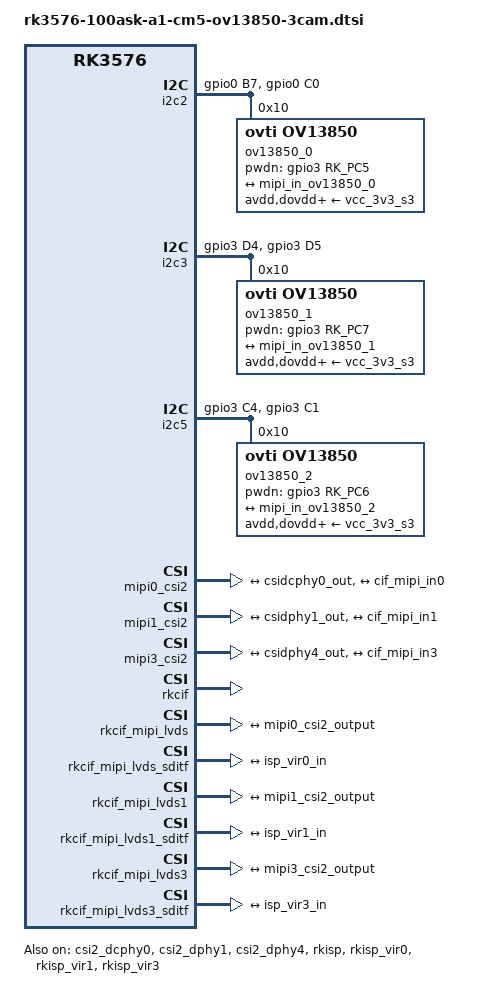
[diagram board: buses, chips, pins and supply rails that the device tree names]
// SPDX-License-Identifier: (GPL-2.0+ OR MIT)
/* Three 2-lane OV13850 modules on A1-CM5 FPC4, FPC6 and FPC7. */

&csi2_dcphy0 {
	status = "okay";
	ports {
		#address-cells = <1>;
		#size-cells = <0>;
		port@0 {
			reg = <0>;
			#address-cells = <1>;
			#size-cells = <0>;
			mipi_in_ov13850_0: endpoint@1 {
				reg = <1>;
				remote-endpoint = <&ov13850_0_out>;
				data-lanes = <1 2>;
			};
		};
		port@1 {
			reg = <1>;
			#address-cells = <1>;
			#size-cells = <0>;
			csidcphy0_out: endpoint@0 {
				reg = <0>;
				remote-endpoint = <&mipi0_csi2_input>;
			};
		};
	};
};

&csi2_dphy1 {
	status = "okay";
	ports {
		#address-cells = <1>;
		#size-cells = <0>;
		port@0 {
			reg = <0>;
			#address-cells = <1>;
			#size-cells = <0>;
			mipi_in_ov13850_1: endpoint@1 {
				reg = <1>;
				remote-endpoint = <&ov13850_1_out>;
				data-lanes = <1 2>;
			};
		};
		port@1 {
			reg = <1>;
			#address-cells = <1>;
			#size-cells = <0>;
			csidphy1_out: endpoint@0 {
				reg = <0>;
				remote-endpoint = <&mipi1_csi2_input>;
			};
		};
	};
};

&csi2_dphy4 {
	status = "okay";
	ports {
		#address-cells = <1>;
		#size-cells = <0>;
		port@0 {
			reg = <0>;
			#address-cells = <1>;
			#size-cells = <0>;
			mipi_in_ov13850_2: endpoint@1 {
				reg = <1>;
				remote-endpoint = <&ov13850_2_out>;
				data-lanes = <1 2>;
			};
		};
		port@1 {
			reg = <1>;
			#address-cells = <1>;
			#size-cells = <0>;
			csidphy4_out: endpoint@0 {
				reg = <0>;
				remote-endpoint = <&mipi3_csi2_input>;
			};
		};
	};
};

&i2c2 {
	status = "okay";
	pinctrl-names = "default";
	/* FPC4 and FPC6 share CAM_CLK0 on this carrier. */
	pinctrl-0 = <&cam_i2c2m0_xfer &cam_clk0m0_clk0>;

	ov13850_0: camera@10 {
		compatible = "ovti,ov13850";
		reg = <0x10>;
		clocks = <&cru CLK_MIPI_CAMERAOUT_M0>;
		clock-names = "xvclk";
		power-domains = <&power RK3576_PD_VI>;
		avdd-supply = <&vcc_3v3_s3>;
		dovdd-supply = <&vcc_3v3_s3>;
		dvdd-supply = <&vcc_3v3_s3>;
		pwdn-gpios = <&gpio3 RK_PC5 GPIO_ACTIVE_HIGH>;
		rockchip,camera-module-index = <0>;
		rockchip,camera-module-facing = "back";
		rockchip,camera-module-name = "ZC-OV13850R2A-V1";
		rockchip,camera-module-lens-name = "Largan-50064B31";
		port {
			ov13850_0_out: endpoint {
				remote-endpoint = <&mipi_in_ov13850_0>;
				data-lanes = <1 2>;
			};
		};
	};
};

&i2c3 {
	status = "okay";
	pinctrl-names = "default";
	pinctrl-0 = <&cam_i2c3m2_xfer>;
	ov13850_1: camera@10 {
		compatible = "ovti,ov13850";
		reg = <0x10>;
		clocks = <&cru CLK_MIPI_CAMERAOUT_M0>;
		clock-names = "xvclk";
		power-domains = <&power RK3576_PD_VI>;
		avdd-supply = <&vcc_3v3_s3>;
		dovdd-supply = <&vcc_3v3_s3>;
		dvdd-supply = <&vcc_3v3_s3>;
		pwdn-gpios = <&gpio3 RK_PC7 GPIO_ACTIVE_HIGH>;
		rockchip,camera-module-index = <1>;
		rockchip,camera-module-facing = "back";
		rockchip,camera-module-name = "ZC-OV13850R2A-V1";
		rockchip,camera-module-lens-name = "Largan-50064B31";
		port {
			ov13850_1_out: endpoint {
				remote-endpoint = <&mipi_in_ov13850_1>;
				data-lanes = <1 2>;
			};
		};
	};
};

&i2c5 {
	status = "okay";
	pinctrl-names = "default";
	pinctrl-0 = <&cam_i2c5m3_xfer &cam_clk2m0_clk2>;
	ov13850_2: camera@10 {
		compatible = "ovti,ov13850";
		reg = <0x10>;
		clocks = <&cru CLK_MIPI_CAMERAOUT_M2>;
		clock-names = "xvclk";
		power-domains = <&power RK3576_PD_VI>;
		avdd-supply = <&vcc_3v3_s3>;
		dovdd-supply = <&vcc_3v3_s3>;
		dvdd-supply = <&vcc_3v3_s3>;
		pwdn-gpios = <&gpio3 RK_PC6 GPIO_ACTIVE_HIGH>;
		rockchip,camera-module-index = <2>;
		rockchip,camera-module-facing = "front";
		rockchip,camera-module-name = "ZC-OV13850R2A-V1";
		rockchip,camera-module-lens-name = "Largan-50064B31";
		port {
			ov13850_2_out: endpoint {
				remote-endpoint = <&mipi_in_ov13850_2>;
				data-lanes = <1 2>;
			};
		};
	};
};

&mipi0_csi2 {
	status = "okay";
	ports {
		#address-cells = <1>;
		#size-cells = <0>;
		port@0 {
			reg = <0>;
			#address-cells = <1>;
			#size-cells = <0>;
			mipi0_csi2_input: endpoint@1 {
				reg = <1>;
				remote-endpoint = <&csidcphy0_out>;
			};
		};
		port@1 {
			reg = <1>;
			#address-cells = <1>;
			#size-cells = <0>;
			mipi0_csi2_output: endpoint@0 {
				reg = <0>;
				remote-endpoint = <&cif_mipi_in0>;
			};
		};
	};
};

&mipi1_csi2 {
	status = "okay";
	ports {
		#address-cells = <1>;
		#size-cells = <0>;
		port@0 {
			reg = <0>;
			#address-cells = <1>;
			#size-cells = <0>;
			mipi1_csi2_input: endpoint@1 {
				reg = <1>;
				remote-endpoint = <&csidphy1_out>;
			};
		};
		port@1 {
			reg = <1>;
			#address-cells = <1>;
			#size-cells = <0>;
			mipi1_csi2_output: endpoint@0 {
				reg = <0>;
				remote-endpoint = <&cif_mipi_in1>;
			};
		};
	};
};

&mipi3_csi2 {
	status = "okay";
	ports {
		#address-cells = <1>;
		#size-cells = <0>;
		port@0 {
			reg = <0>;
			#address-cells = <1>;
			#size-cells = <0>;
			mipi3_csi2_input: endpoint@1 {
				reg = <1>;
				remote-endpoint = <&csidphy4_out>;
			};
		};
		port@1 {
			reg = <1>;
			#address-cells = <1>;
			#size-cells = <0>;
			mipi3_csi2_output: endpoint@0 {
				reg = <0>;
				remote-endpoint = <&cif_mipi_in3>;
			};
		};
	};
};

&rkcif { status = "okay"; };
&rkcif_mmu { status = "okay"; };
&rkisp { status = "okay"; };
&rkisp_mmu { status = "okay"; };

/*
 * The carrier routes the three camera SCCB/I2C buses directly to the FPC
 * connectors without external pull-ups.  Keep Schmitt input enabled and use
 * the SoC pull-ups so an unpopulated/module-side bus does not float low.
 * Board revisions should still fit external pull-ups for robust operation.
 */
&pinctrl {
	camera-i2c {
		cam_i2c2m0_xfer: cam-i2c2m0-xfer {
			rockchip,pins =
				<0 RK_PB7 9 &pcfg_pull_up_smt>,
				<0 RK_PC0 9 &pcfg_pull_up_smt>;
		};

		cam_i2c3m2_xfer: cam-i2c3m2-xfer {
			rockchip,pins =
				<3 RK_PD4 11 &pcfg_pull_up_smt>,
				<3 RK_PD5 11 &pcfg_pull_up_smt>;
		};

		cam_i2c5m3_xfer: cam-i2c5m3-xfer {
			rockchip,pins =
				<3 RK_PC4 11 &pcfg_pull_up_smt>,
				<3 RK_PC1 11 &pcfg_pull_up_smt>;
		};
	};
};

&rkcif_mipi_lvds {
	status = "okay";
	port { cif_mipi_in0: endpoint { remote-endpoint = <&mipi0_csi2_output>; }; };
};
&rkcif_mipi_lvds_sditf {
	status = "okay";
	port { mipi0_sditf_out: endpoint { remote-endpoint = <&isp_vir0_in>; }; };
};
&rkisp_vir0 {
	status = "okay";
	port { isp_vir0_in: endpoint { remote-endpoint = <&mipi0_sditf_out>; }; };
};

&rkcif_mipi_lvds1 {
	status = "okay";
	port { cif_mipi_in1: endpoint { remote-endpoint = <&mipi1_csi2_output>; }; };
};
&rkcif_mipi_lvds1_sditf {
	status = "okay";
	port { mipi1_sditf_out: endpoint { remote-endpoint = <&isp_vir1_in>; }; };
};
&rkisp_vir1 {
	status = "okay";
	port { isp_vir1_in: endpoint { remote-endpoint = <&mipi1_sditf_out>; }; };
};

&rkcif_mipi_lvds3 {
	status = "okay";
	port { cif_mipi_in3: endpoint { remote-endpoint = <&mipi3_csi2_output>; }; };
};
&rkcif_mipi_lvds3_sditf {
	status = "okay";
	port { mipi3_sditf_out: endpoint { remote-endpoint = <&isp_vir3_in>; }; };
};
&rkisp_vir3 {
	status = "okay";
	port { isp_vir3_in: endpoint { remote-endpoint = <&mipi3_sditf_out>; }; };
};
